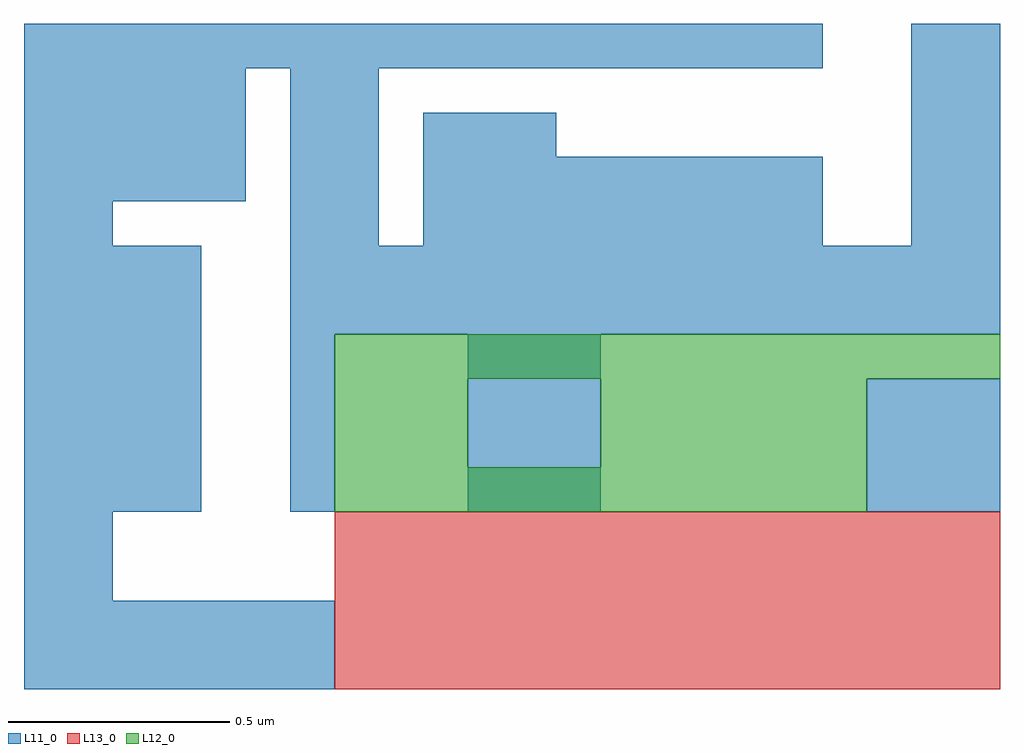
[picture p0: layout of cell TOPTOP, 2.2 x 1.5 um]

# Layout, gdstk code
from math import pi, radians
import gdstk
lib = gdstk.Library(unit=1e-6, precision=1e-09)
def R(c, l, rs):  # rectangles x0, y0, x1, y1
    for r in rs: c.add(gdstk.rectangle(r[:2], r[2:], *l))
def P(c, l, *ps):  # polygons
    for p in ps: c.add(gdstk.Polygon(p, *l))
L11_0 = (11, 0)
L12_0 = (12, 0)
L13_0 = (13, 0)

a_1 = lib.new_cell('A$1')
P(a_1, L11_0, [(0,0),(0,1.5),(0.7,1.5),(0.7,0.4),(0.6,0.4),(0.6,1.4),(0.2,1.4),(0.2,1),(0.4,1),(0.4,0.4),(0.2,0.4),(0.2,0.2),(0.7,0.2),(0.7,0)])

c_1 = lib.new_cell('C$1')
R(c_1, L11_0, [(0,0,0.3,0.3)])

b_1 = lib.new_cell('B$1')
R(b_1, L12_0, [(0,0,0.3,0.4), (0.3,0.3,0.6,0.4)])
b_1.add(gdstk.Reference(c_1, (0.3,0)))

toptop = lib.new_cell('TOPTOP')
R(toptop, L13_0, [(0.7,0,2.2,0.4)])
toptop.add(gdstk.Reference(a_1, (0,0)))
toptop.add(gdstk.Reference(a_1, (2.2,0.8), rotation=pi/2))
toptop.add(gdstk.Reference(b_1, (0.7,0.4)))
toptop.add(gdstk.Reference(b_1, (1.6,0.8), rotation=pi))
toptop.add(gdstk.Reference(b_1, (1.6,0.4)))
toptop.add(gdstk.Reference(c_1, (0.2,1.1)))
toptop.add(gdstk.Reference(c_1, (0.9,1)))

lib.write_gds('TOPTOP.gds')
